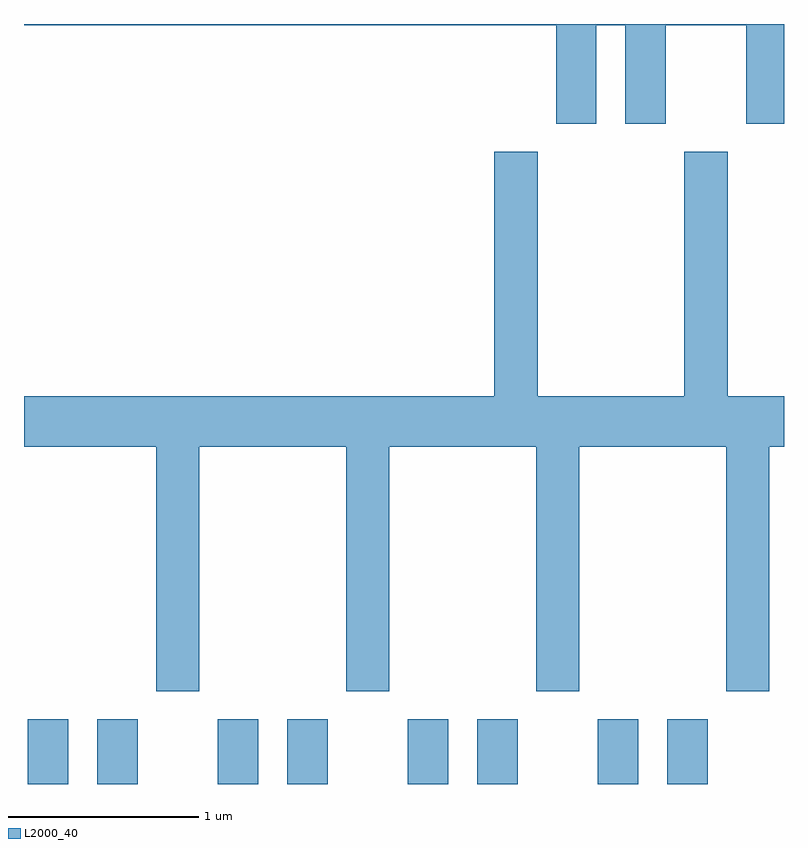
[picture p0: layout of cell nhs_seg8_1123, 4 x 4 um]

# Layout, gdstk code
import gdstk
lib = gdstk.Library(unit=1e-6, precision=1e-09)
def R(c, l, rs):  # rectangles x0, y0, x1, y1
    for r in rs: c.add(gdstk.rectangle(r[:2], r[2:], *l))
def P(c, l, *ps):  # polygons
    for p in ps: c.add(gdstk.Polygon(p, *l))
L2000_40 = (2000, 40)

nhs_seg8_1123 = lib.new_cell('nhs_seg8_1123')
R(nhs_seg8_1123, L2000_40, [(217.631,1912.342,217.844,1912.684), (217.996,1912.342,218.209,1912.684), (218.631,1912.342,218.844,1912.684), (218.996,1912.342,219.209,1912.684), (219.631,1912.342,219.844,1912.684), (219.996,1912.342,220.209,1912.684), (220.631,1912.342,220.844,1912.684), (220.996,1912.342,221.209,1912.684)])
P(nhs_seg8_1123, L2000_40, [(220.624,1916.336),(220.776,1916.336),(220.776,1915.816),(220.989,1915.816),(220.989,1916.336),(221.411,1916.336),(221.411,1915.816),(221.611,1915.816),(221.611,1916.342),(217.611,1916.342),(217.611,1916.336),(220.411,1916.336),(220.411,1915.816),(220.624,1915.816)],
  [(220.314,1915.669),(220.086,1915.669),(220.086,1914.384),(217.611,1914.384),(217.611,1914.116),(218.306,1914.116),(218.306,1912.831),(218.534,1912.831),(218.534,1914.116),(219.306,1914.116),(219.306,1912.831),(219.534,1912.831),(219.534,1914.116),(220.306,1914.116),(220.306,1912.831),(220.534,1912.831),(220.534,1914.116),(221.306,1914.116),(221.306,1912.831),(221.534,1912.831),(221.534,1914.116),(221.611,1914.116),(221.611,1914.384),(221.314,1914.384),(221.314,1915.669),(221.086,1915.669),(221.086,1914.384),(220.314,1914.384)])

lib.write_gds('nhs_seg8_1123.gds')
